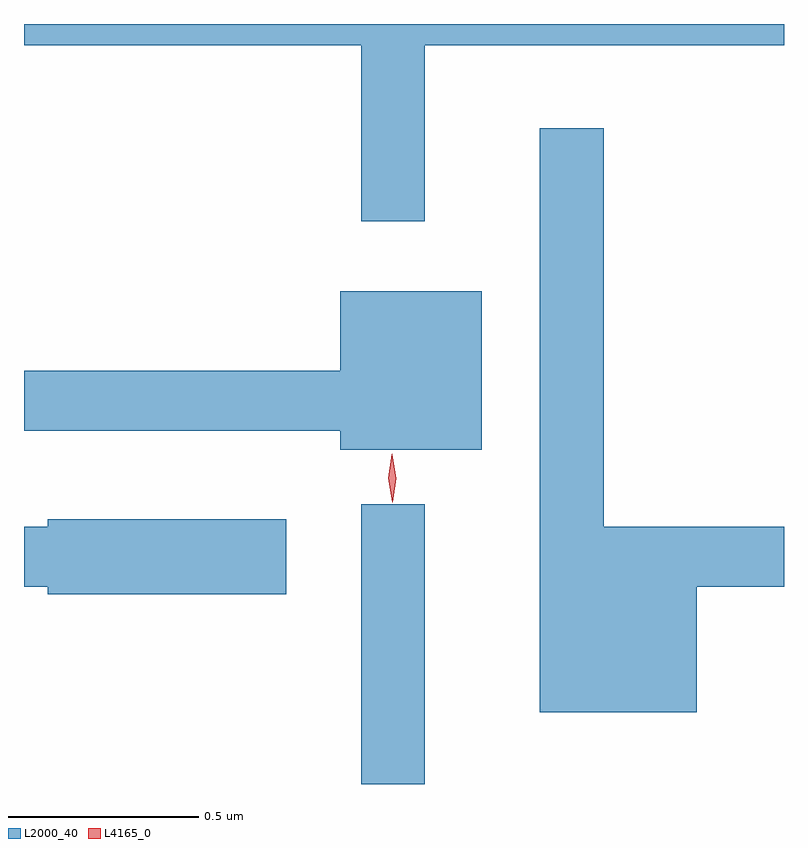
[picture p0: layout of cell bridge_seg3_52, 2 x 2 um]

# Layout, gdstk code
import gdstk
lib = gdstk.Library(unit=1e-6, precision=1e-09)
def R(c, l, rs):  # rectangles x0, y0, x1, y1
    for r in rs: c.add(gdstk.rectangle(r[:2], r[2:], *l))
def P(c, l, *ps):  # polygons
    for p in ps: c.add(gdstk.Polygon(p, *l))
L2000_40 = (2000, 40)
L4165_0 = (4165, 0)

bridge_seg3_52 = lib.new_cell('bridge_seg3_52')
R(bridge_seg3_52, L2000_40, [(1248.021,1172.912,1248.189,1173.648)])
P(bridge_seg3_52, L2000_40, [(1248.189,1174.856),(1249.134,1174.856),(1249.134,1174.912),(1247.134,1174.912),(1247.134,1174.856),(1248.021,1174.856),(1248.021,1174.393),(1248.189,1174.393)],
  [(1248.904,1173.431),(1249.134,1173.431),(1249.134,1173.589),(1248.659,1173.589),(1248.659,1174.638),(1248.491,1174.638),(1248.491,1173.101),(1248.904,1173.101)],
  [(1248.339,1174.209),(1247.966,1174.209),(1247.966,1173.999),(1247.134,1173.999),(1247.134,1173.841),(1247.966,1173.841),(1247.966,1173.791),(1248.339,1173.791)],
  [(1247.824,1173.609),(1247.196,1173.609),(1247.196,1173.589),(1247.134,1173.589),(1247.134,1173.431),(1247.196,1173.431),(1247.196,1173.411),(1247.824,1173.411)])
P(bridge_seg3_52, L4165_0, [(1248.103,1173.653),(1248.103,1173.653),(1248.093,1173.717),(1248.102,1173.78),(1248.103,1173.781),(1248.103,1173.78),(1248.113,1173.717),(1248.104,1173.653)])

lib.write_gds('bridge_seg3_52.gds')
